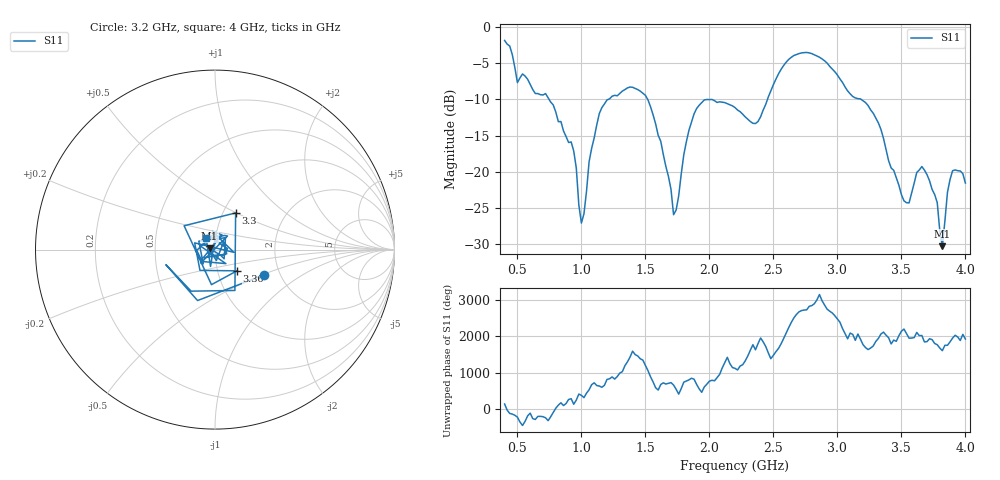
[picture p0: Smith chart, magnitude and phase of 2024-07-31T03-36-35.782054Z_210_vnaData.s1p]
!Created with skrf (http://scikit-rf.org).
# Hz S RI R 50.0
!freq ReS11 ImS11
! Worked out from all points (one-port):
!   181 points, 400 MHz to 4 GHz, reference 50 ohm
!   lowest |S11| = -30.3 dB at 3.82 GHz (marker M1), VSWR 1.06, Z = 47.1 + j0.66 ohm
!   |S11| at or under -10 dB: 747 MHz to 1.212 GHz (465.2 MHz wide, 47.5 % of centre); 1.517 GHz to 2.454 GHz (936.5 MHz wide, 47.2 % of centre); 3.184 GHz to end of sweep
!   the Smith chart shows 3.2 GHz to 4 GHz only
!   S11 on the Smith chart (normalised r, x): 3.2 GHz: 1.66, -0.52; 3.3 GHz: 1.15, +0.50; 3.36 GHz: 1.24, -0.30; 4 GHz: 0.90, +0.12
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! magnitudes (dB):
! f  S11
! 400 MHz  -1.9
! 500 MHz  -7.7
! 720 MHz  -9.2
! 860 MHz  -14.4
! 940 MHz  -17.1
! 1 GHz  -27.1
! 1.14 GHz  -12.0
! 1.3 GHz  -9.2
! 1.5 GHz  -9.5
! 1.62 GHz  -15.8
! 1.72 GHz  -25.9
! 1.76 GHz  -23.3
! 1.82 GHz  -15.9
! 1.9 GHz  -11.3
! 2.2 GHz  -11.1
! 2.38 GHz  -13.1
! 2.66 GHz  -4.0
! 3.1 GHz  -9.3
! 3.2 GHz  -10.2
! 3.3 GHz  -12.6
! 3.36 GHz  -15.4
! 3.56 GHz  -24.3
! 3.66 GHz  -19.3
! 3.78 GHz  -24.2
! 3.82 GHz  -30.3
! 3.86 GHz  -22.8
! 3.9 GHz  -19.9
! 4 GHz  -21.6
